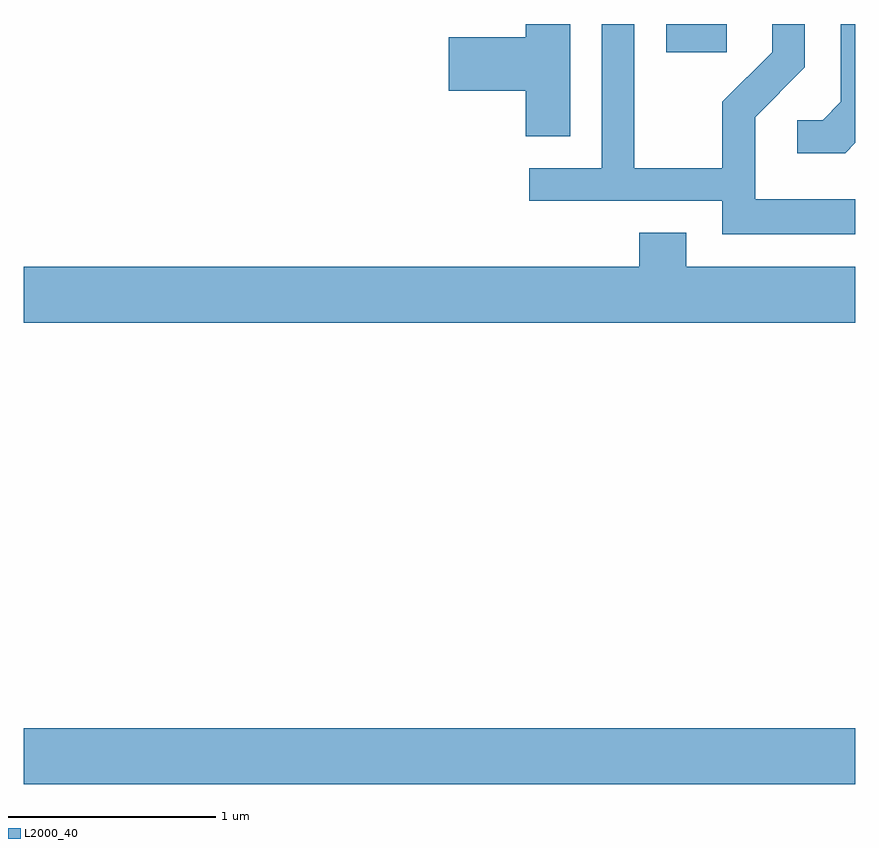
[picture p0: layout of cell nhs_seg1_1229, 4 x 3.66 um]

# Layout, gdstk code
import gdstk
lib = gdstk.Library(unit=1e-6, precision=1e-09)
def R(c, l, rs):  # rectangles x0, y0, x1, y1
    for r in rs: c.add(gdstk.rectangle(r[:2], r[2:], *l))
def P(c, l, *ps):  # polygons
    for p in ps: c.add(gdstk.Polygon(p, *l))
L2000_40 = (2000, 40)

nhs_seg1_1229 = lib.new_cell('nhs_seg1_1229')
R(nhs_seg1_1229, L2000_40, [(223.611,864.056,227.611,864.324), (226.701,867.576,226.994,867.712)])
P(nhs_seg1_1229, L2000_40, [(227.611,866.869),(227.129,866.869),(227.129,867.264),(227.369,867.504),(227.369,867.712),(227.211,867.712),(227.211,867.577),(226.971,867.337),(226.971,867.019),(226.549,867.019),(226.549,867.712),(226.391,867.712),(226.391,867.019),(226.043,867.019),(226.043,866.861),(226.971,866.861),(226.971,866.701),(227.611,866.701)],
  [(227.611,867.14),(227.611,867.712),(227.541,867.712),(227.541,867.337),(227.454,867.249),(227.333,867.249),(227.333,867.091),(227.562,867.091)],
  [(226.239,867.712),(226.026,867.712),(226.026,867.649),(225.656,867.649),(225.656,867.391),(226.026,867.391),(226.026,867.171),(226.239,867.171)],
  [(227.611,866.544),(226.799,866.544),(226.799,866.709),(226.571,866.709),(226.571,866.544),(223.611,866.544),(223.611,866.276),(227.611,866.276)])

lib.write_gds('nhs_seg1_1229.gds')
